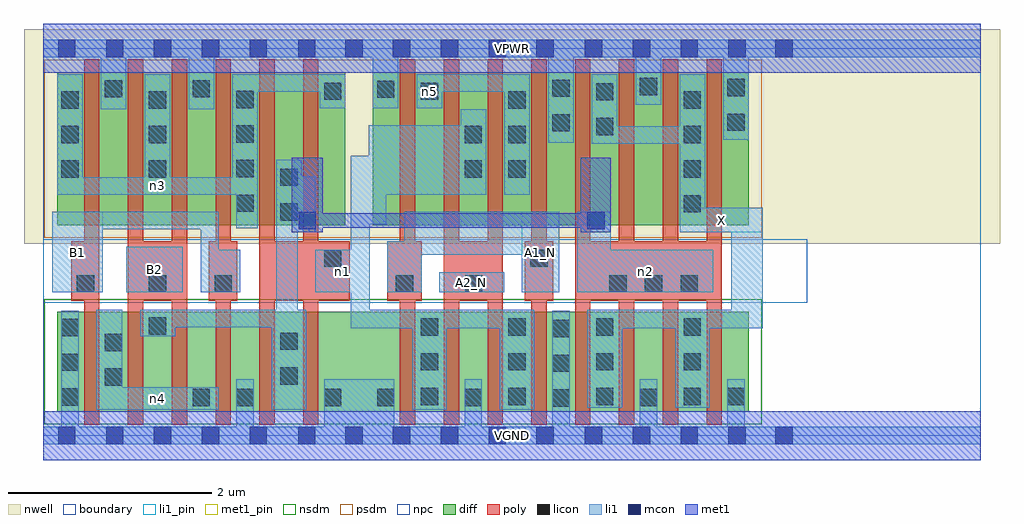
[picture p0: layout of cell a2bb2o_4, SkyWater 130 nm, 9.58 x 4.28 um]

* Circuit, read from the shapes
.subckt a2bb2o_4 A1_N A2_N B1 B2 VGND VPWR X n1 n2 n3 n4 n5
XM1 n4 B1 VGND VSUBS sky130_fd_pr__nfet_01v8 w=0.98 l=0.15 m=2
XM2 n2 B2 n4 VSUBS sky130_fd_pr__nfet_01v8 w=0.98 l=0.15 m=2
XM3 n2 n1 VGND VSUBS sky130_fd_pr__nfet_01v8 w=0.98 l=0.15 m=2
XM4 n1 A1_N VGND VSUBS sky130_fd_pr__nfet_01v8 w=0.98 l=0.15 m=2
XM5 VGND A2_N n1 VSUBS sky130_fd_pr__nfet_01v8 w=0.98 l=0.15 m=2
XM6 X n2 VGND VSUBS sky130_fd_pr__nfet_01v8 w=0.98 l=0.15 m=4
XM7 VPWR B1 n3 n6 sky130_fd_pr__pfet_01v8 w=1.5 l=0.15 m=2
XM8 n3 B2 VPWR n6 sky130_fd_pr__pfet_01v8 w=1.5 l=0.15 m=2
XM9 n2 n1 n3 n6 sky130_fd_pr__pfet_01v8 w=1.5 l=0.15 m=2
XM10 n5 A1_N VPWR n6 sky130_fd_pr__pfet_01v8 w=1.5 l=0.15 m=2
XM11 n1 A2_N n5 n6 sky130_fd_pr__pfet_01v8 w=1.5 l=0.15 m=2
XM12 X n2 VPWR n6 sky130_fd_pr__pfet_01v8 w=1.5 l=0.15 m=4
.ends

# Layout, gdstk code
import gdstk
lib = gdstk.Library(unit=1e-6, precision=1e-09)
def R(c, l, rs):  # rectangles x0, y0, x1, y1
    for r in rs: c.add(gdstk.rectangle(r[:2], r[2:], *l))
def A(c, l, x, y, w, h, nx, ny, dx, dy):  # array of equal rectangles
    R(c, l, [(x+i*dx, y+j*dy, x+i*dx+w, y+j*dy+h) for i in range(nx) for j in range(ny)])
nwell = (64, 20)
diff = (65, 20)
poly = (66, 20)
licon = (66, 44)
li1_pin = (67, 16)
li1 = (67, 20)
mcon = (67, 44)
met1_pin = (68, 16)
met1 = (68, 20)
nsdm = (93, 44)
psdm = (94, 20)
npc = (95, 20)
boundary = (235, 4)

a2bb2o_4 = lib.new_cell('a2bb2o_4')
R(a2bb2o_4, nwell, [(-0.19,1.885,9.39,3.99), (0,1.885,9.2,3.99)])
R(a2bb2o_4, diff, [(0.135,0.235,6.925,1.215), (0.135,2.065,2.965,3.565), (3.235,2.065,6.925,3.565)])
A(a2bb2o_4, poly, 0.4, 0.105, 0.15, 3.59, 6, 1, 0.43, 0)
A(a2bb2o_4, poly, 3.5, 0.105, 0.15, 3.59, 8, 1, 0.43, 0)
R(a2bb2o_4, poly, [(0.275,1.325,0.55,1.905), (0.83,1.325,1.41,1.905), (1.625,1.325,1.905,1.905), (2.12,1.325,3.005,1.905), (3.375,1.325,3.715,1.905), (3.93,1.325,4.51,1.905), (4.725,1.325,5.005,1.905), (5.22,1.325,6.66,1.905)])
A(a2bb2o_4, licon, 4.995, 0.285, 0.17, 0.17, 1, 3, 0, 0.34)
A(a2bb2o_4, licon, 0.175, 0.295, 0.17, 0.17, 1, 3, 0, 0.34)
A(a2bb2o_4, licon, 3.705, 0.3, 0.17, 0.17, 4, 3, 0.86, 0.34)
A(a2bb2o_4, licon, 5.555, 1.405, 0.17, 0.17, 3, 1, 0.35, 0)
A(a2bb2o_4, licon, 6.285, 2.19, 0.17, 0.17, 1, 4, 0, 0.34)
A(a2bb2o_4, licon, 1.895, 2.195, 0.17, 0.17, 1, 4, 0, 0.34)
A(a2bb2o_4, licon, 0.175, 2.53, 0.17, 0.17, 1, 3, 0, 0.34)
A(a2bb2o_4, licon, 1.035, 2.53, 0.17, 0.17, 1, 3, 0, 0.34)
A(a2bb2o_4, licon, 4.565, 2.53, 0.17, 0.17, 1, 3, 0, 0.34)
R(a2bb2o_4, licon, [(1.465,0.29,1.635,0.46), (1.895,0.29,2.065,0.46), (2.755,0.29,2.925,0.46), (3.275,0.29,3.445,0.46), (4.135,0.29,4.305,0.46), (5.855,0.29,6.025,0.46), (6.715,0.3,6.885,0.47), (0.605,0.49,0.775,0.66), (2.325,0.5,2.495,0.67), (0.605,0.83,0.775,1), (2.325,0.84,2.495,1.01), (1.035,0.99,1.205,1.16), (0.33,1.405,0.5,1.575), (1.035,1.405,1.205,1.575), (1.68,1.405,1.85,1.575), (3.46,1.405,3.63,1.575), (4.14,1.405,4.31,1.575), (2.755,1.655,2.925,1.825), (4.78,1.655,4.95,1.825), (2.325,2.11,2.495,2.28), (2.325,2.45,2.495,2.62), (4.135,2.53,4.305,2.7), (4.135,2.87,4.305,3.04), (5.425,2.95,5.595,3.12), (4.995,2.985,5.165,3.155), (6.715,2.99,6.885,3.16), (5.425,3.29,5.595,3.46), (2.755,3.295,2.925,3.465), (3.705,3.295,3.875,3.465), (3.275,3.315,3.445,3.485), (0.605,3.32,0.775,3.49), (1.465,3.32,1.635,3.49), (4.995,3.325,5.165,3.495), (6.715,3.33,6.885,3.5), (5.855,3.34,6.025,3.51)])
R(a2bb2o_4, li1_pin, [(0.085,1.405,0.585,2.195), (0.815,1.405,1.37,1.855), (3.885,1.405,4.525,1.605), (4.695,1.405,5.065,2.195), (6.245,1.995,7.06,2.235)])
A(a2bb2o_4, li1, 0.135, 2.365, 0.25, 1.18, 3, 1, 0.86, 0)
R(a2bb2o_4, li1, [(0,-0.085,9.2,0.085), (0.175,-0.085,0.345,1.225), (1.895,-0.085,2.065,0.555), (2.755,-0.085,3.445,0.555), (4.135,-0.085,4.305,0.555), (4.995,-0.085,5.165,1.225), (5.855,-0.085,6.025,0.555), (6.715,-0.085,6.885,0.555), (0.52,0.255,1.72,0.475), (0.52,0.255,0.775,1.235), (2.24,0.255,2.58,1.235), (2.285,0.255,2.495,2.705), (3.62,0.255,3.96,1.235), (4.48,0.255,4.82,1.235), (5.34,0.275,5.68,1.235), (6.2,0.275,6.54,1.235), (0.95,0.975,1.295,1.235), (3.015,1.055,4.82,1.235), (3.015,1.055,3.205,2.745), (5.34,1.055,7.06,1.235), (6.75,1.055,7.06,2.235), (0.95,1.065,2.58,1.235), (0.085,1.405,0.585,2.195), (0.815,1.405,1.37,1.855), (1.545,1.405,1.935,1.825), (1.545,1.405,1.72,2.195), (2.67,1.405,3.205,1.825), (3.375,1.405,3.715,1.905), (3.54,1.405,3.715,2.195), (3.885,1.405,4.525,1.605), (4.695,1.405,5.065,2.195), (5.24,1.405,6.575,1.825), (5.24,1.405,5.57,2.195), (3.54,1.775,5.065,2.195), (2.285,1.995,2.675,2.545), (2.285,1.995,2.535,2.705), (6.245,1.995,6.495,3.545), (6.245,1.995,7.06,2.235), (0.085,2.025,1.72,2.195), (1.895,2.035,2.105,3.545), (3.195,2.075,3.365,3.045), (0.135,2.365,2.105,2.535), (3.195,2.365,4.345,3.045), (4.095,2.365,4.345,3.205), (4.525,2.365,4.775,3.545), (5.385,2.865,6.495,3.035), (5.385,2.865,5.635,3.545), (4.955,2.875,5.205,3.885), (6.675,2.905,6.925,3.885), (0.565,3.205,0.815,3.885), (1.425,3.205,1.675,3.885), (2.715,3.215,2.965,3.545), (3.235,3.215,3.485,3.885), (3.665,3.215,3.915,3.545), (5.815,3.245,6.065,3.885), (1.855,3.375,2.965,3.545), (3.665,3.375,4.775,3.545), (0,3.715,9.2,3.885)])
A(a2bb2o_4, mcon, 0.145, -0.085, 0.17, 0.17, 5, 2, 0.47, 3.8)
A(a2bb2o_4, mcon, 2.5, -0.085, 0.17, 0.17, 3, 2, 0.465, 3.8)
A(a2bb2o_4, mcon, 3.9, -0.085, 0.17, 0.17, 3, 2, 0.47, 3.8)
A(a2bb2o_4, mcon, 5.315, -0.085, 0.17, 0.17, 4, 2, 0.47, 3.8)
R(a2bb2o_4, mcon, [(7.185,-0.085,7.355,0.085), (2.505,2.025,2.675,2.195), (5.34,2.025,5.51,2.195), (7.185,3.715,7.355,3.885)])
R(a2bb2o_4, met1_pin, [(0,-0.24,9.2,0.24), (0,3.56,9.2,4.04)])
R(a2bb2o_4, met1, [(0,-0.24,9.2,0.24), (2.44,1.995,2.74,2.725), (5.275,1.995,5.57,2.725), (2.44,2.04,5.57,2.18), (0,3.56,9.2,4.04)])
R(a2bb2o_4, nsdm, [(0.01,0.11,7.05,1.34)])
R(a2bb2o_4, psdm, [(0.01,1.94,7.05,3.69)])
R(a2bb2o_4, npc, [(0,1.305,7.5,1.925)])
R(a2bb2o_4, boundary, [(0,0,9.2,3.8)])
a2bb2o_4.add(gdstk.Label('A1_N', (4.88,1.8), layer=67, texttype=5))
a2bb2o_4.add(gdstk.Label('A2_N', (4.205,1.505), layer=67, texttype=5))
a2bb2o_4.add(gdstk.Label('B1', (0.335,1.8), layer=67, texttype=5))
a2bb2o_4.add(gdstk.Label('B2', (1.092,1.63), layer=67, texttype=5))
a2bb2o_4.add(gdstk.Label('X', (6.652,2.115), layer=67, texttype=5))
a2bb2o_4.add(gdstk.Label('n4', (1.12,0.365), layer=67, texttype=5))
a2bb2o_4.add(gdstk.Label('n2', (5.907,1.615), layer=67, texttype=5))
a2bb2o_4.add(gdstk.Label('n1', (2.937,1.615), layer=67, texttype=5))
a2bb2o_4.add(gdstk.Label('n3', (1.12,2.45), layer=67, texttype=5))
a2bb2o_4.add(gdstk.Label('n5', (3.79,3.38), layer=67, texttype=5))
a2bb2o_4.add(gdstk.Label('VPWR', (4.6,3.8), layer=68, texttype=5))
a2bb2o_4.add(gdstk.Label('VGND', (4.6,0), layer=68, texttype=5))
a2bb2o_4.add(gdstk.Label('A1_N', (4.88,1.8), layer=67, texttype=16))
a2bb2o_4.add(gdstk.Label('A2_N', (4.205,1.505), layer=67, texttype=16))
a2bb2o_4.add(gdstk.Label('B1', (0.335,1.8), layer=67, texttype=16))
a2bb2o_4.add(gdstk.Label('B2', (1.092,1.63), layer=67, texttype=16))
a2bb2o_4.add(gdstk.Label('X', (6.652,2.115), layer=67, texttype=16))
a2bb2o_4.add(gdstk.Label('VPWR', (4.6,3.8), layer=68, texttype=16))
a2bb2o_4.add(gdstk.Label('VGND', (4.6,0), layer=68, texttype=16))

lib.write_gds('a2bb2o_4.gds')
